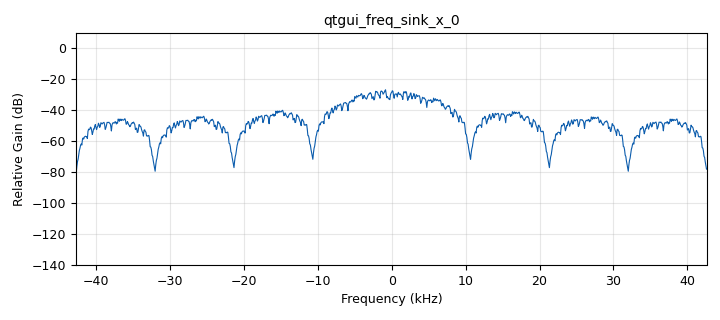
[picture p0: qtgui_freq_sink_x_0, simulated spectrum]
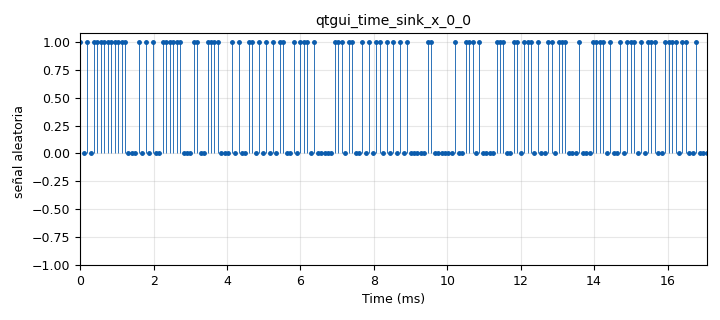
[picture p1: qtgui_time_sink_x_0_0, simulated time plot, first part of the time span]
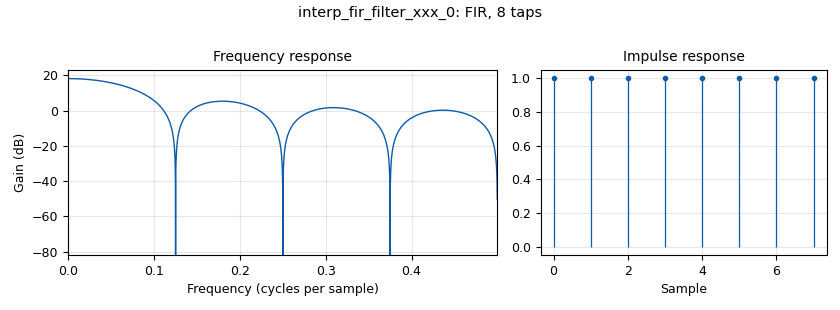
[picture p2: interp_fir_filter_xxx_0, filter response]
options:
  parameters:
    author: MANUEL_VALENTINA
    generate_options: qt_gui
    id: analisisenreq
    output_language: python
    title: analisisenfreq
  states: {}

blocks:
- name: M
  id: variable
  parameters:
    value: '8'
  states: {}
- name: Nbps
  id: variable
  parameters:
    value: int(math.log(M,2))
  states: {}
- name: Rb
  id: variable
  parameters:
    value: '32000'
  states: {}
- name: Rs
  id: variable
  parameters:
    value: Rb/Nbps
  states: {}
- name: Sps
  id: variable
  parameters:
    value: len(h)
  states: {}
- name: h
  id: variable
  parameters:
    value: (1,1,1,1,1,1,1,1)
  states: {}
- name: samp_rate
  id: variable
  parameters:
    value: Rs*Sps
  states: {}
- name: analog_const_source_x_1
  id: analog_const_source_x
  parameters:
    const: '1'
    type: float
  states: {}
- name: analog_random_source_x_0
  id: analog_random_source_x
  parameters:
    max: '2'
    min: '0'
    num_samps: '1000000'
    repeat: 'True'
    type: byte
  states: {}
- name: blocks_char_to_float_0_0_0
  id: blocks_char_to_float
  parameters:
    scale: '1'
  states: {}
- name: blocks_char_to_float_0_0_0_0
  id: blocks_char_to_float
  parameters:
    scale: '1'
  states: {}
- name: blocks_multiply_const_vxx_0
  id: blocks_multiply_const_vxx
  parameters:
    const: 2*math.pi/M
    type: float
  states: {}
- name: blocks_repack_bits_bb_0
  id: blocks_repack_bits_bb
  parameters:
    endianness: gr.GR_LSB_FIRST
    k: '1'
    l: Nbps
  states: {}
- name: epy_block_0_0
  id: epy_block
  parameters:
    _source_code: |
      import numpy as np
      from gnuradio import gr
      import math

      class blk(gr.sync_block):  
          """This block is a CE VCO or baseband VCO and works as following: ….."""

          def __init__(self,):  
              gr.sync_block.__init__(
                  self,
                  name='VCO_CMLP',   
                  in_sig=[np.float32, np.float32],
                  out_sig=[np.complex64]
              )
              
          def work(self, input_items, output_items):
              Q=input_items[0]
              A=input_items[1]
              y=output_items[0]
              N=len(A)
              y[:]=A*np.exp(1j*Q)
              return len(y)
  states: {}
- name: import_0_0
  id: import
  parameters:
    imports: import numpy as np
  states: {}
- name: import_1
  id: import
  parameters:
    imports: import math
  states: {}
- name: interp_fir_filter_xxx_0
  id: interp_fir_filter_xxx
  parameters:
    interp: Sps
    taps: h
    type: ccc
  states: {}
- name: qtgui_freq_sink_x_0
  id: qtgui_freq_sink_x
  parameters:
    average: '0.05'
    bw: samp_rate
    fc: '0'
    fftsize: '1024'
    type: complex
  states: {}
- name: qtgui_time_sink_x_0_0
  id: qtgui_time_sink_x
  parameters:
    marker1: '0'
    size: '1024'
    srate: Rs
    stemplot: 'True'
    type: float
    width1: '2'
    ylabel: 'señal aleatoria '
  states: {}

connections:
- [analog_const_source_x_1, '0', epy_block_0_0, '1']
- [analog_random_source_x_0, '0', blocks_char_to_float_0_0_0_0, '0']
- [analog_random_source_x_0, '0', blocks_repack_bits_bb_0, '0']
- [blocks_char_to_float_0_0_0, '0', blocks_multiply_const_vxx_0, '0']
- [blocks_char_to_float_0_0_0_0, '0', qtgui_time_sink_x_0_0, '0']
- [blocks_multiply_const_vxx_0, '0', epy_block_0_0, '0']
- [blocks_repack_bits_bb_0, '0', blocks_char_to_float_0_0_0, '0']
- [epy_block_0_0, '0', interp_fir_filter_xxx_0, '0']
- [interp_fir_filter_xxx_0, '0', qtgui_freq_sink_x_0, '0']

metadata:
  file_format: 1
  grc_version: 3.10.9.2
